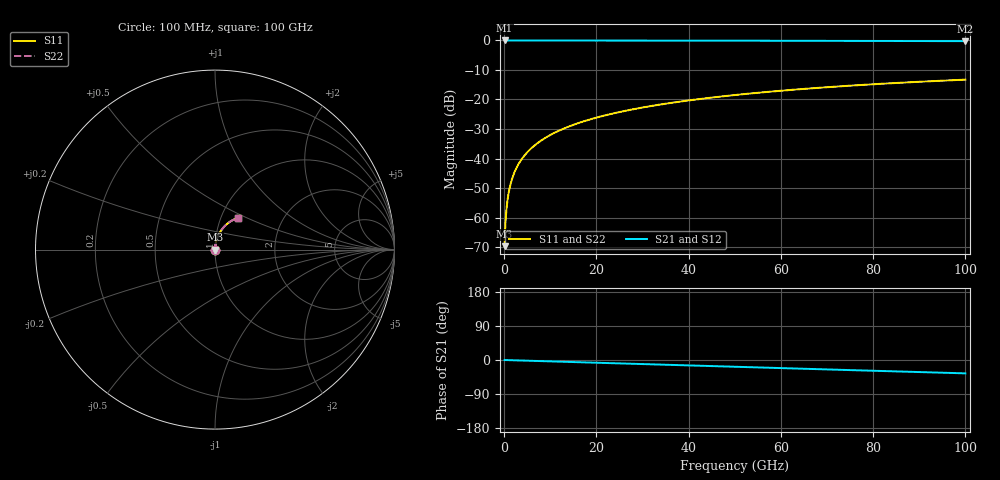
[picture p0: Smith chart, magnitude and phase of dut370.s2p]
! Touchstone file exported from HFSS 2026.1.0
!  File:  C:/ffzhzh/LocalFiles/Ansys_Project_Files/temp_train_TSV_370_1783510344_41296.aedt
!  Generated:  07:33:38 PM Jul  8, 2026
!  Design:  TSV
!  Project:  temp_train_TSV_370_1783510344_41296
! Variables:
!  h_bsmrdl = 2um
!  h_ox = 20um
!  h_rdl = 5um
!  h_sub = 60.68um
!  h_tmrdl = 5um
!  h_tsv = 60.68um
!  h_via = 3um
!  l_bsmrdl = 300um
!  l_sub = 414.5um
!  l_tmrdl = 200um
!  m_sub = 200um
!  pitch = 49.99um
!  r_tsv = 7.25um
!  s_tmrdl = 10um
!  w_bsmrdl = 18um
!  w_sub = 500um
!  w_tmrdl = 12um
!  x_tsv_center1 = 206um
!  x_tsv_center2 = 524um
!  x_tsv_center3 = 736um
!  x_tsv_center4 = 1054um
!  x_tsv_center5 = 1266um
!  x_tsv_center6 = 1584um
# GHz S MA R 50.000000
! Terminal data exported
! Port[1] = TSV1_1_T1
! Port[2] = TSV1_1_T2
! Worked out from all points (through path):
!   1000 points, 100 MHz to 100 GHz, reference 50 ohm
!   highest |S21| = 0.00 dB at 100 MHz (marker M1); lowest = -0.2 dB at 100 GHz (marker M2)
!   group delay of S21, straight-line fit = 980 fs
!   lowest |S11| = -69.7 dB at 100 MHz (marker M3), VSWR 1.00, Z = 50 + j0.0282 ohm
!   |S11| at or under -10 dB: start of sweep to end of sweep
!   |S22| runs from -69.7 to -13.3 dB; largest |S21 - S12| = 3.3e-15
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0.1  0.0003276 59.4  0.9998 -0.0  0.9998 -0.0  0.0003276 59.4
! Gamma 0 0 0 0
! Port Impedance 50 0 50 0
0.3  0.0008506 76.8  0.9998 -0.1  0.9998 -0.1  0.0008506 76.8
0.7  0.001897 82.6  0.9998 -0.3  0.9998 -0.3  0.001897 82.6
0.8  0.002158 83.1  0.9997 -0.3  0.9997 -0.3  0.002158 83.1
1  0.002678 83.9  0.9997 -0.4  0.9997 -0.4  0.002678 83.9
1.3  0.003454 84.5  0.9997 -0.5  0.9997 -0.5  0.003454 84.5
1.7  0.004481 85.0  0.9996 -0.6  0.9996 -0.6  0.004481 85.0
2.3  0.006003 85.2  0.9996 -0.8  0.9996 -0.8  0.006003 85.2
3  0.007758 85.4  0.9995 -1.1  0.9995 -1.1  0.007758 85.4
3.8  0.009748 85.4  0.9994 -1.4  0.9994 -1.4  0.009748 85.4
4.8  0.01222 85.4  0.9993 -1.8  0.9993 -1.8  0.01222 85.4
6  0.01519 85.2  0.9992 -2.2  0.9992 -2.2  0.01519 85.2
8.8  0.02208 84.7  0.9989 -3.2  0.9989 -3.2  0.02208 84.7
12.4  0.03088 83.7  0.9985 -4.5  0.9985 -4.5  0.03088 83.7
16.8  0.04157 82.3  0.998 -6.1  0.998 -6.1  0.04157 82.3
24.2  0.05937 80.0  0.9968 -8.7  0.9968 -8.7  0.05937 80.0
33.4  0.08112 76.9  0.9951 -12.0  0.9951 -12.0  0.08112 76.9
41.2  0.09916 74.2  0.9933 -14.8  0.9933 -14.8  0.09916 74.2
50.1  0.1192 71.1  0.9909 -17.9  0.9909 -17.9  0.1192 71.1
66.7  0.1547 65.4  0.9857 -23.7  0.9857 -23.7  0.1547 65.4
83.4  0.1876 59.7  0.9797 -29.6  0.9797 -29.6  0.1876 59.7
100  0.2168 54.1  0.9735 -35.3  0.9735 -35.3  0.2168 54.1
